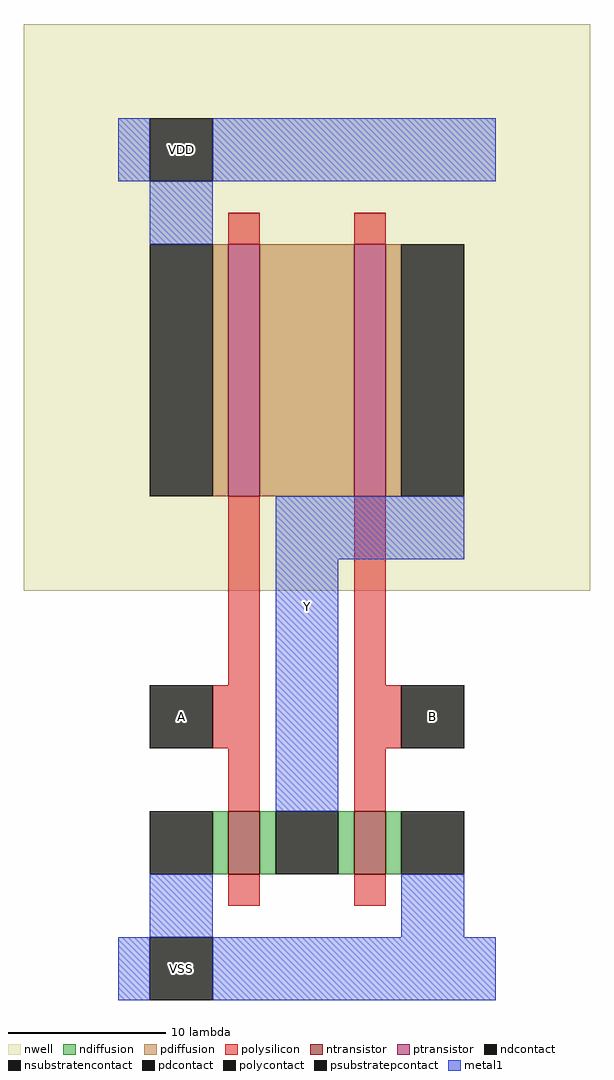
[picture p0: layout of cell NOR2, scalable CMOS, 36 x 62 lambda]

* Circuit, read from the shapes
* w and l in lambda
.subckt NOR2 A B VDD VSS Y
M1 Y A VSS VSS nfet w=4 l=2
M2 VSS B Y VSS nfet w=4 l=2
M3 n1 A VDD VDD pfet w=16 l=2
M4 Y B n1 VDD pfet w=16 l=2
.ends

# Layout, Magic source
magic
tech scmos
<< nwell >>
rect -6 26 30 62
<< ntransistor >>
rect 7 8 9 12
rect 15 8 17 12
<< ptransistor >>
rect 7 32 9 48
rect 15 32 17 48
<< ndiffusion >>
rect 6 8 7 12
rect 9 8 10 12
rect 14 8 15 12
rect 17 8 18 12
<< pdiffusion >>
rect 6 32 7 48
rect 9 32 15 48
rect 17 32 18 48
<< ndcontact >>
rect 2 8 6 12
rect 10 8 14 12
rect 18 8 22 12
<< pdcontact >>
rect 2 32 6 48
rect 18 32 22 48
<< psubstratepcontact >>
rect 2 0 6 4
<< nsubstratencontact >>
rect 2 52 6 56
<< polysilicon >>
rect 7 48 9 50
rect 15 48 17 50
rect 7 20 9 32
rect 6 16 9 20
rect 7 12 9 16
rect 15 20 17 32
rect 15 16 18 20
rect 15 12 17 16
rect 7 6 9 8
rect 15 6 17 8
<< polycontact >>
rect 2 16 6 20
rect 18 16 22 20
<< metal1 >>
rect 0 52 2 56
rect 6 52 24 56
rect 2 48 6 52
rect 10 28 22 32
rect 10 12 14 28
rect 2 4 6 8
rect 18 4 22 8
rect 0 0 2 4
rect 6 0 24 4
<< labels >>
rlabel nsubstratencontact 4 54 4 54 1 VDD
rlabel polycontact 4 18 4 18 1 A
rlabel polycontact 20 18 20 18 1 B
rlabel psubstratepcontact 4 2 4 2 1 VSS
rlabel metal1 12 25 12 25 1 Y
<< end >>
